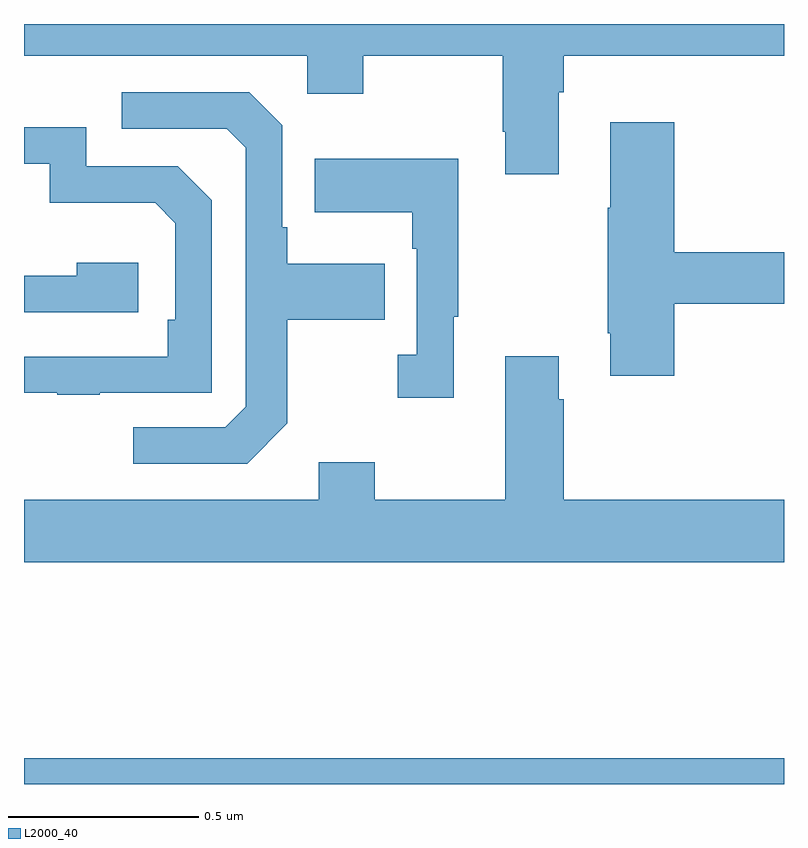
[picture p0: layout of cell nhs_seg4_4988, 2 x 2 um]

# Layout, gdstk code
import gdstk
lib = gdstk.Library(unit=1e-6, precision=1e-09)
def R(c, l, rs):  # rectangles x0, y0, x1, y1
    for r in rs: c.add(gdstk.rectangle(r[:2], r[2:], *l))
def P(c, l, *ps):  # polygons
    for p in ps: c.add(gdstk.Polygon(p, *l))
L2000_40 = (2000, 40)

nhs_seg4_4988 = lib.new_cell('nhs_seg4_4988')
R(nhs_seg4_4988, L2000_40, [(172,798.9,174,798.968)])
P(nhs_seg4_4988, L2000_40, [(173.407,800.72),(173.42,800.72),(173.42,800.816),(174,800.816),(174,800.9),(172,800.9),(172,800.816),(172.746,800.816),(172.746,800.717),(172.893,800.717),(172.893,800.816),(173.26,800.816),(173.26,800.617),(173.267,800.617),(173.267,800.505),(173.407,800.505)],
  [(172.693,799.849),(172.693,800.122),(172.949,800.122),(172.949,800.269),(172.693,800.269),(172.693,800.365),(172.68,800.365),(172.68,800.634),(172.593,800.721),(172.257,800.721),(172.257,800.625),(172.533,800.625),(172.584,800.574),(172.584,799.893),(172.53,799.839),(172.287,799.839),(172.287,799.743),(172.587,799.743)],
  [(173.711,800.164),(174,800.164),(174,800.3),(173.711,800.3),(173.711,800.641),(173.543,800.641),(173.543,800.417),(173.536,800.417),(173.536,800.086),(173.543,800.086),(173.543,799.974),(173.711,799.974)],
  [(172.199,799.929),(172.494,799.929),(172.494,800.436),(172.404,800.526),(172.164,800.526),(172.164,800.628),(172,800.628),(172,800.532),(172.068,800.532),(172.068,800.429),(172.345,800.429),(172.398,800.376),(172.398,800.122),(172.378,800.122),(172.378,800.025),(172,800.025),(172,799.929),(172.087,799.929),(172.087,799.924),(172.199,799.924)],
  [(173.131,800.129),(173.143,800.129),(173.143,800.545),(172.765,800.545),(172.765,800.405),(173.022,800.405),(173.022,800.309),(173.034,800.309),(173.034,800.03),(172.983,800.03),(172.983,799.917),(173.131,799.917)],
  [(172.3,800.272),(172.139,800.272),(172.139,800.238),(172,800.238),(172,800.142),(172.3,800.142)],
  [(174,799.648),(173.42,799.648),(173.42,799.913),(173.407,799.913),(173.407,800.026),(173.267,800.026),(173.267,799.648),(172.923,799.648),(172.923,799.747),(172.775,799.747),(172.775,799.648),(172,799.648),(172,799.484),(174,799.484)])

lib.write_gds('nhs_seg4_4988.gds')
